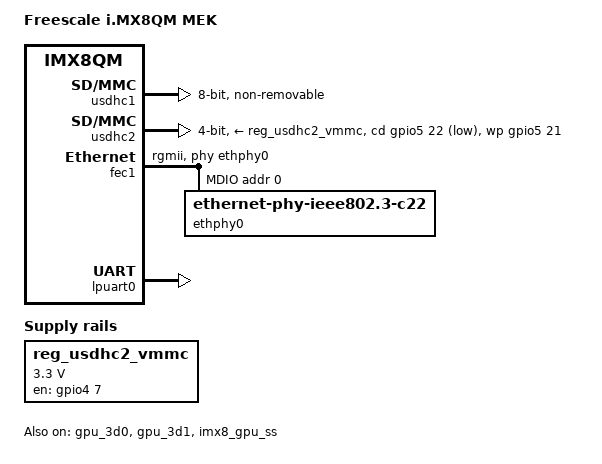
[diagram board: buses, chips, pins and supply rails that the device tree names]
/*
 * Copyright 2017 NXP
 *
 * This program is free software; you can redistribute it and/or
 * modify it under the terms of the GNU General Public License
 * as published by the Free Software Foundation; either version 2
 * of the License, or (at your option) any later version.
 *
 * This program is distributed in the hope that it will be useful,
 * but WITHOUT ANY WARRANTY; without even the implied warranty of
 * MERCHANTABILITY or FITNESS FOR A PARTICULAR PURPOSE.  See the
 * GNU General Public License for more details.
 */

/dts-v1/;

#include "fsl-imx8qm.dtsi"

/ {
	model = "Freescale i.MX8QM MEK";
	compatible = "fsl,imx8qm-mek", "fsl,imx8qm";

	chosen {
		bootargs = "console=ttyLP0,115200 earlycon=lpuart32,0x5a060000,115200";
		stdout-path = &lpuart0;
	};

	regulators {
		compatible = "simple-bus";
		#address-cells = <1>;
		#size-cells = <0>;

		reg_usdhc2_vmmc: usdhc2_vmmc {
			compatible = "regulator-fixed";
			regulator-name = "sw-3p3-sd1";
			regulator-min-microvolt = <3300000>;
			regulator-max-microvolt = <3300000>;
			gpio = <&gpio4 7 GPIO_ACTIVE_HIGH>;
			enable-active-high;
		};
	};
};

&iomuxc {
	imx8qm-mek {
		pinctrl_fec1: fec1grp {
			fsl,pins = <
				SC_P_ENET0_MDC_CONN_ENET0_MDC			0x06000048
				SC_P_ENET0_MDIO_CONN_ENET0_MDIO			0x06000048
				SC_P_ENET0_RGMII_TX_CTL_CONN_ENET0_RGMII_TX_CTL	0x06000048
				SC_P_ENET0_RGMII_TXC_CONN_ENET0_RGMII_TXC	0x06000048
				SC_P_ENET0_RGMII_TXD0_CONN_ENET0_RGMII_TXD0	0x06000048
				SC_P_ENET0_RGMII_TXD1_CONN_ENET0_RGMII_TXD1	0x06000048
				SC_P_ENET0_RGMII_TXD2_CONN_ENET0_RGMII_TXD2	0x06000048
				SC_P_ENET0_RGMII_TXD3_CONN_ENET0_RGMII_TXD3	0x06000048
				SC_P_ENET0_RGMII_RXC_CONN_ENET0_RGMII_RXC	0x06000048
				SC_P_ENET0_RGMII_RX_CTL_CONN_ENET0_RGMII_RX_CTL	0x06000048
				SC_P_ENET0_RGMII_RXD0_CONN_ENET0_RGMII_RXD0	0x06000048
				SC_P_ENET0_RGMII_RXD1_CONN_ENET0_RGMII_RXD1	0x06000048
				SC_P_ENET0_RGMII_RXD2_CONN_ENET0_RGMII_RXD2	0x06000048
				SC_P_ENET0_RGMII_RXD3_CONN_ENET0_RGMII_RXD3	0x06000048
			>;
		};

		pinctrl_lpuart0: lpuart0grp {
			fsl,pins = <
				SC_P_UART0_RX_DMA_UART0_RX		0x06000020
				SC_P_UART0_TX_DMA_UART0_TX		0x06000020
				SC_P_UART0_RTS_B_DMA_UART0_RTS_B	0x06000020
				SC_P_UART0_CTS_B_DMA_UART0_CTS_B	0x06000020
			>;
		};

		pinctrl_usdhc1: usdhc1grp {
			fsl,pins = <
				SC_P_EMMC0_CLK_CONN_EMMC0_CLK		0x06000041
				SC_P_EMMC0_CMD_CONN_EMMC0_CMD		0x00000021
				SC_P_EMMC0_DATA0_CONN_EMMC0_DATA0	0x00000021
				SC_P_EMMC0_DATA1_CONN_EMMC0_DATA1	0x00000021
				SC_P_EMMC0_DATA2_CONN_EMMC0_DATA2	0x00000021
				SC_P_EMMC0_DATA3_CONN_EMMC0_DATA3	0x00000021
				SC_P_EMMC0_DATA4_CONN_EMMC0_DATA4	0x00000021
				SC_P_EMMC0_DATA5_CONN_EMMC0_DATA5	0x00000021
				SC_P_EMMC0_DATA6_CONN_EMMC0_DATA6	0x00000021
				SC_P_EMMC0_DATA7_CONN_EMMC0_DATA7	0x00000021
				SC_P_EMMC0_STROBE_CONN_EMMC0_STROBE	0x06000041
				SC_P_EMMC0_RESET_B_CONN_EMMC0_RESET_B	0x00000021
			>;
		};

		pinctrl_usdhc1_100mhz: usdhc1grp100mhz {
			fsl,pins = <
				SC_P_EMMC0_CLK_CONN_EMMC0_CLK		0x06000040
				SC_P_EMMC0_CMD_CONN_EMMC0_CMD		0x00000020
				SC_P_EMMC0_DATA0_CONN_EMMC0_DATA0	0x00000020
				SC_P_EMMC0_DATA1_CONN_EMMC0_DATA1	0x00000020
				SC_P_EMMC0_DATA2_CONN_EMMC0_DATA2	0x00000020
				SC_P_EMMC0_DATA3_CONN_EMMC0_DATA3	0x00000020
				SC_P_EMMC0_DATA4_CONN_EMMC0_DATA4	0x00000020
				SC_P_EMMC0_DATA5_CONN_EMMC0_DATA5	0x00000020
				SC_P_EMMC0_DATA6_CONN_EMMC0_DATA6	0x00000020
				SC_P_EMMC0_DATA7_CONN_EMMC0_DATA7	0x00000020
				SC_P_EMMC0_STROBE_CONN_EMMC0_STROBE	0x06000040
				SC_P_EMMC0_RESET_B_CONN_EMMC0_RESET_B	0x00000020
			>;
		};

		pinctrl_usdhc1_200mhz: usdhc1grp200mhz {
			fsl,pins = <
				SC_P_EMMC0_CLK_CONN_EMMC0_CLK		0x06000040
				SC_P_EMMC0_CMD_CONN_EMMC0_CMD		0x00000020
				SC_P_EMMC0_DATA0_CONN_EMMC0_DATA0	0x00000020
				SC_P_EMMC0_DATA1_CONN_EMMC0_DATA1	0x00000020
				SC_P_EMMC0_DATA2_CONN_EMMC0_DATA2	0x00000020
				SC_P_EMMC0_DATA3_CONN_EMMC0_DATA3	0x00000020
				SC_P_EMMC0_DATA4_CONN_EMMC0_DATA4	0x00000020
				SC_P_EMMC0_DATA5_CONN_EMMC0_DATA5	0x00000020
				SC_P_EMMC0_DATA6_CONN_EMMC0_DATA6	0x00000020
				SC_P_EMMC0_DATA7_CONN_EMMC0_DATA7	0x00000020
				SC_P_EMMC0_STROBE_CONN_EMMC0_STROBE	0x06000040
				SC_P_EMMC0_RESET_B_CONN_EMMC0_RESET_B	0x00000020
			>;
		};

		pinctrl_usdhc2_gpio: usdhc2grpgpio {
			fsl,pins = <
				SC_P_USDHC1_DATA6_LSIO_GPIO5_IO21	0x00000021
				SC_P_USDHC1_DATA7_LSIO_GPIO5_IO22	0x00000021
				SC_P_USDHC1_RESET_B_LSIO_GPIO4_IO07	0x00000021
			>;
		};

		pinctrl_usdhc2: usdhc2grp {
			fsl,pins = <
				SC_P_USDHC1_CLK_CONN_USDHC1_CLK		0x06000041
				SC_P_USDHC1_CMD_CONN_USDHC1_CMD		0x00000021
				SC_P_USDHC1_DATA0_CONN_USDHC1_DATA0	0x00000021
				SC_P_USDHC1_DATA1_CONN_USDHC1_DATA1	0x00000021
				SC_P_USDHC1_DATA2_CONN_USDHC1_DATA2	0x00000021
				SC_P_USDHC1_DATA3_CONN_USDHC1_DATA3	0x00000021
				SC_P_USDHC1_VSELECT_CONN_USDHC1_VSELECT	0x00000021
			>;
		};

		pinctrl_usdhc2_100mhz: usdhc2grp100mhz {
			fsl,pins = <
				SC_P_USDHC1_CLK_CONN_USDHC1_CLK		0x06000040
				SC_P_USDHC1_CMD_CONN_USDHC1_CMD		0x00000020
				SC_P_USDHC1_DATA0_CONN_USDHC1_DATA0	0x00000020
				SC_P_USDHC1_DATA1_CONN_USDHC1_DATA1	0x00000020
				SC_P_USDHC1_DATA2_CONN_USDHC1_DATA2	0x00000020
				SC_P_USDHC1_DATA3_CONN_USDHC1_DATA3	0x00000020
				SC_P_USDHC1_VSELECT_CONN_USDHC1_VSELECT	0x00000020
			>;
		};

		pinctrl_usdhc2_200mhz: usdhc2grp200mhz {
			fsl,pins = <
				SC_P_USDHC1_CLK_CONN_USDHC1_CLK		0x06000040
				SC_P_USDHC1_CMD_CONN_USDHC1_CMD		0x00000020
				SC_P_USDHC1_DATA0_CONN_USDHC1_DATA0	0x00000020
				SC_P_USDHC1_DATA1_CONN_USDHC1_DATA1	0x00000020
				SC_P_USDHC1_DATA2_CONN_USDHC1_DATA2	0x00000020
				SC_P_USDHC1_DATA3_CONN_USDHC1_DATA3	0x00000020
				SC_P_USDHC1_VSELECT_CONN_USDHC1_VSELECT	0x00000020
			>;
		};
	};
};

&usdhc1 {
	pinctrl-names = "default", "state_100mhz", "state_200mhz";
	pinctrl-0 = <&pinctrl_usdhc1>;
	pinctrl-1 = <&pinctrl_usdhc1_100mhz>;
	pinctrl-2 = <&pinctrl_usdhc1_200mhz>;
	bus-width = <8>;
	non-removable;
	status = "okay";
};

&usdhc2 {
	pinctrl-names = "default", "state_100mhz", "state_200mhz";
	pinctrl-0 = <&pinctrl_usdhc2>, <&pinctrl_usdhc2_gpio>;
	pinctrl-1 = <&pinctrl_usdhc2_100mhz>, <&pinctrl_usdhc2_gpio>;
	pinctrl-2 = <&pinctrl_usdhc2_200mhz>, <&pinctrl_usdhc2_gpio>;
	bus-width = <4>;
	cd-gpios = <&gpio5 22 GPIO_ACTIVE_LOW>;
	wp-gpios = <&gpio5 21 GPIO_ACTIVE_HIGH>;
	vmmc-supply = <&reg_usdhc2_vmmc>;
	status = "okay";
};

&fec1 {
	pinctrl-names = "default";
	pinctrl-0 = <&pinctrl_fec1>;
	phy-mode = "rgmii";
	phy-handle = <&ethphy0>;
	fsl,magic-packet;
	fsl,rgmii_txc_dly;
	fsl,rgmii_rxc_dly;
	status = "okay";

	mdio {
		#address-cells = <1>;
		#size-cells = <0>;

		ethphy0: ethernet-phy@0 {
			compatible = "ethernet-phy-ieee802.3-c22";
			reg = <0>;
			at803x,eee-disabled;
			at803x,vddio-1p8v;
		};

		ethphy1: ethernet-phy@1 {
			compatible = "ethernet-phy-ieee802.3-c22";
			reg = <1>;
			at803x,eee-disabled;
			at803x,vddio-1p8v;
			status = "disabled";
		};
	};
};

&lpuart0 { /* console */
	pinctrl-names = "default";
	pinctrl-0 = <&pinctrl_lpuart0>;
	status = "okay";
};

&gpu_3d0 {
        status = "okay";
};

&gpu_3d1 {
        status = "okay";
};

&imx8_gpu_ss {
        status = "okay";
};
